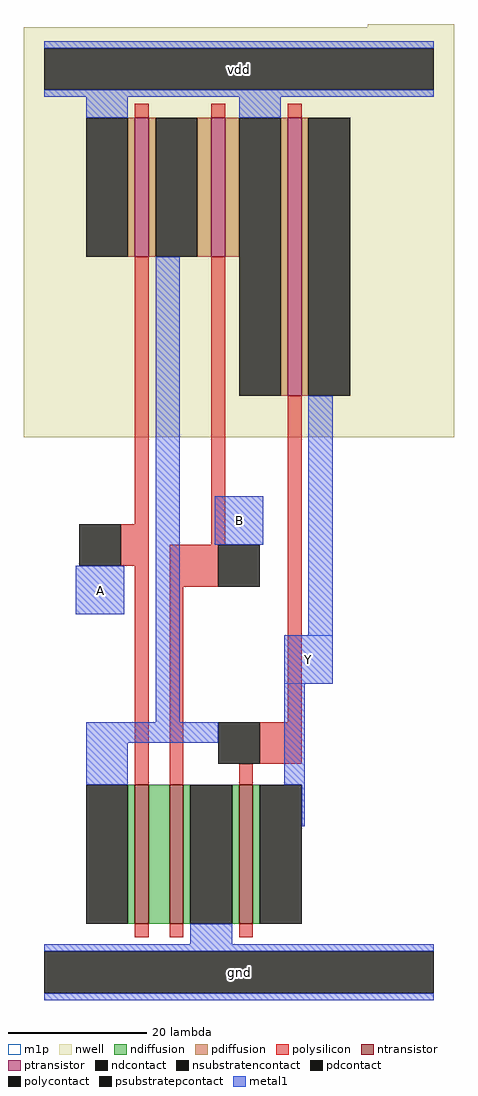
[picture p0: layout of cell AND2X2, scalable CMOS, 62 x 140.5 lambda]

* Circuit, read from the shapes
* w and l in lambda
.subckt AND2X2 A B Y vdd gnd
M1 n1 A n2 gnd nfet w=20 l=2
M2 gnd B n1 gnd nfet w=20 l=2
M3 Y n2 gnd gnd nfet w=20 l=2
M4 n2 A vdd vdd pfet w=20 l=2
M5 vdd B n2 vdd pfet w=20 l=2
M6 Y n2 vdd vdd pfet w=40 l=2
.ends

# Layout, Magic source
magic
tech scmos
magscale 1 2
<< nwell >>
rect 87 272 112 273
rect -12 154 112 272
<< ntransistor >>
rect 20 14 24 54
rect 30 14 34 54
rect 50 14 54 54
<< ptransistor >>
rect 20 206 24 246
rect 42 206 46 246
rect 64 166 68 246
<< ndiffusion >>
rect 18 14 20 54
rect 24 14 30 54
rect 34 14 36 54
rect 48 14 50 54
rect 54 14 56 54
<< pdiffusion >>
rect 18 206 20 246
rect 24 206 26 246
rect 38 206 42 246
rect 46 206 50 246
rect 62 166 64 246
rect 68 166 70 246
<< ndcontact >>
rect 6 14 18 54
rect 36 14 48 54
rect 56 14 68 54
<< pdcontact >>
rect 6 206 18 246
rect 26 206 38 246
rect 50 166 62 246
rect 70 166 82 246
<< psubstratepcontact >>
rect -6 -6 106 6
<< nsubstratencontact >>
rect -6 254 106 266
<< polysilicon >>
rect 20 246 24 250
rect 42 246 46 250
rect 64 246 68 250
rect 20 129 24 206
rect 16 117 24 129
rect 42 123 46 206
rect 20 54 24 117
rect 30 111 44 123
rect 30 54 34 111
rect 64 72 68 166
rect 56 60 68 72
rect 50 54 54 60
rect 20 10 24 14
rect 30 10 34 14
rect 50 10 54 14
<< polycontact >>
rect 4 117 16 129
rect 44 111 56 123
rect 44 60 56 72
<< metal1 >>
rect -6 266 106 268
rect -6 252 106 254
rect 6 246 18 252
rect 50 246 62 252
rect 3 103 17 117
rect 26 72 33 206
rect 43 123 57 137
rect 70 97 77 166
rect 63 83 77 97
rect 6 66 44 72
rect 6 54 18 66
rect 63 54 69 83
rect 68 42 69 54
rect 36 8 48 14
rect -6 6 106 8
rect -6 -8 106 -6
<< m1p >>
rect 43 123 57 137
rect 3 103 17 117
rect 63 83 77 97
<< labels >>
rlabel metal1 -6 252 106 268 0 vdd
port 3 nsew power bidirectional abutment
rlabel metal1 -6 -8 106 8 0 gnd
port 4 nsew ground bidirectional abutment
rlabel metal1 63 83 77 97 0 Y
port 2 nsew signal output
rlabel metal1 3 103 17 117 0 A
port 0 nsew signal input
rlabel metal1 43 123 57 137 0 B
port 1 nsew signal input
<< properties >>
string FIXED_BBOX 0 0 100 260
string LEFclass CORE
string LEFsite core
string LEFsymmetry X Y
<< end >>
